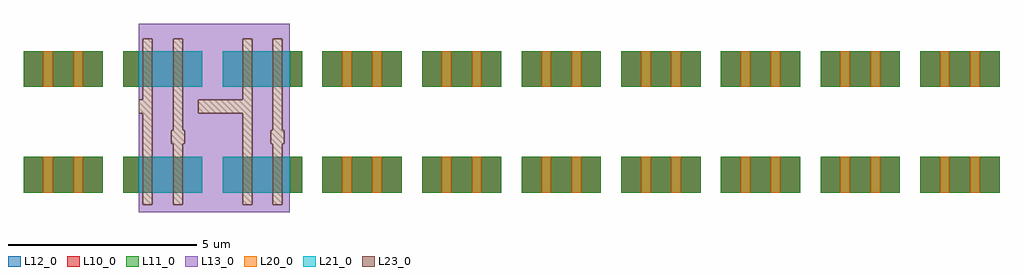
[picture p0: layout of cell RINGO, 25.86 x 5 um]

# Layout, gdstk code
import gdstk
lib = gdstk.Library(unit=1e-6, precision=1e-09)
def R(c, l, rs):  # rectangles x0, y0, x1, y1
    for r in rs: c.add(gdstk.rectangle(r[:2], r[2:], *l))
def A(c, l, x, y, w, h, nx, ny, dx, dy):  # array of equal rectangles
    R(c, l, [(x+i*dx, y+j*dy, x+i*dx+w, y+j*dy+h) for i in range(nx) for j in range(ny)])
def P(c, l, *ps):  # polygons
    for p in ps: c.add(gdstk.Polygon(p, *l))
L10_0 = (10, 0)
L11_0 = (11, 0)
L12_0 = (12, 0)
L13_0 = (13, 0)
L20_0 = (20, 0)
L21_0 = (21, 0)
L23_0 = (23, 0)

trans = lib.new_cell('TRANS')
R(trans, L10_0, [(-0.65,-0.475,-0.125,0.475), (0.125,-0.475,0.65,0.475)])
R(trans, L12_0, [(-0.65,-0.475,0.65,0.475)])
R(trans, L20_0, [(-0.125,-0.475,0.125,0.475)])

inv2 = lib.new_cell('INV2')
inv2.add(gdstk.Reference(trans, (-0.4,0)))
inv2.add(gdstk.Reference(trans, (-0.4,2.8)))
inv2.add(gdstk.Reference(trans, (0.4,0), x_reflection=True))
inv2.add(gdstk.Reference(trans, (0.4,2.8), x_reflection=True))

ringo = lib.new_cell('RINGO')
A(ringo, L11_0, 6.87, -0.475, 2.1, 0.95, 7, 2, 2.64, 2.8)
R(ringo, L11_0, [(-1.05,-0.475,1.05,0.475), (1.59,-0.475,2,0.475), (6,-0.475,6.33,0.475), (-1.05,2.325,1.05,3.275), (1.59,2.325,2,3.275), (6,2.325,6.33,3.275)])
P(ringo, L13_0, [(2,-1),(2,1.62),(2.115,1.62),(2.115,-0.8),(2.365,-0.8),(2.365,3.6),(2.915,3.6),(2.915,1.18),(2.86,1.18),(2.86,0.82),(2.915,0.82),(2.915,-0.8),(3.165,-0.8),(3.165,0.82),(3.22,0.82),(3.22,1.18),(3.165,1.18),(3.165,3.6),(4.755,3.6),(4.755,1.98),(3.58,1.98),(3.58,1.62),(4.755,1.62),(4.755,-0.8),(5.005,-0.8),(5.005,3.6),(5.555,3.6),(5.555,1.18),(5.5,1.18),(5.5,0.82),(5.555,0.82),(5.555,-0.8),(5.805,-0.8),(5.805,0.82),(5.86,0.82),(5.86,1.18),(5.805,1.18),(5.805,3.6),(2.115,3.6),(2.115,1.98),(2,1.98),(2,4),(6,4),(6,-1)])
R(ringo, L21_0, [(2,-0.475,3.69,0.475), (4.23,-0.475,6,0.475), (2,2.325,3.69,3.275), (4.23,2.325,6,3.275)])
P(ringo, L23_0, [(2.115,-0.8),(2.115,1.62),(2,1.62),(2,1.98),(2.115,1.98),(2.115,3.6),(2.365,3.6),(2.365,-0.8)],
  [(2.915,-0.8),(2.915,0.82),(2.86,0.82),(2.86,1.18),(2.915,1.18),(2.915,3.6),(3.165,3.6),(3.165,1.18),(3.22,1.18),(3.22,0.82),(3.165,0.82),(3.165,-0.8)],
  [(4.755,-0.8),(4.755,1.62),(3.58,1.62),(3.58,1.98),(4.755,1.98),(4.755,3.6),(5.005,3.6),(5.005,-0.8)],
  [(5.555,-0.8),(5.555,0.82),(5.5,0.82),(5.5,1.18),(5.555,1.18),(5.555,3.6),(5.805,3.6),(5.805,1.18),(5.86,1.18),(5.86,0.82),(5.805,0.82),(5.805,-0.8)])
ringo.add(gdstk.Reference(inv2, (0,0)))
ringo.add(gdstk.Reference(inv2, (2.64,0)))
ringo.add(gdstk.Reference(inv2, (5.28,0)))
ringo.add(gdstk.Reference(inv2, (7.92,0)))
ringo.add(gdstk.Reference(inv2, (10.56,0)))
ringo.add(gdstk.Reference(inv2, (13.2,0)))
ringo.add(gdstk.Reference(inv2, (15.84,0)))
ringo.add(gdstk.Reference(inv2, (18.48,0)))
ringo.add(gdstk.Reference(inv2, (21.12,0)))
ringo.add(gdstk.Reference(inv2, (23.76,0)))

lib.write_gds('RINGO.gds')
